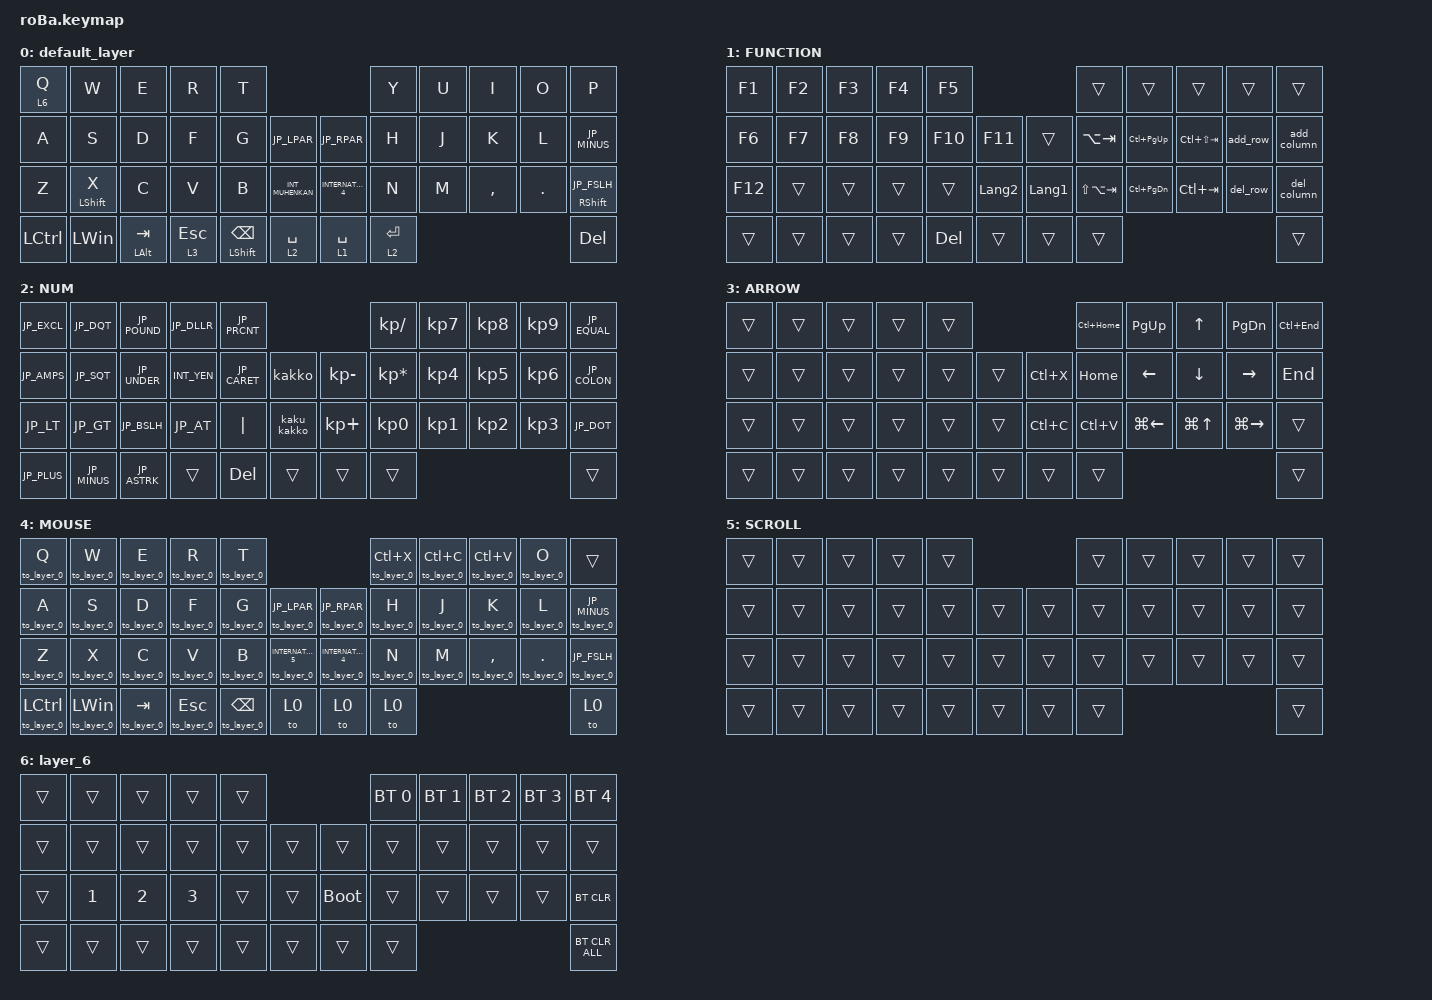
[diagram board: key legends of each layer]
#include <behaviors.dtsi>
#include <dt-bindings/zmk/bt.h>
#include <dt-bindings/zmk/keys.h>
#include "keys_jp.h"

&mt {
    flavor = "balanced";
    quick-tap-ms = <0>;
};

&trackball {
    scroll-layers = <5>;

    // arrows {
    //     layers = <3>;
    //     bindings =
    //         <&kp RIGHT_ARROW>,
    //         <&kp LEFT_ARROW>,
    //         <&kp UP_ARROW>,
    //         <&kp DOWN_ARROW>;
    //     tick = <10>;
    //     wait-ms = <5>;
    //     tap-ms = <5>;
    // };
};

/ {
    combos {
        compatible = "zmk,combos";

        double_quotation {
            bindings = <&kp JP_DQT>;
            key-positions = <32 33>;
            layers = <0>;
        };

        eq {
            bindings = <&kp JP_EQUAL>;
            key-positions = <20 21>;
            layers = <0>;
        };
    };

    macros {
        to_layer_0: to_layer_0 {
            compatible = "zmk,behavior-macro-one-param";
            #binding-cells = <1>;
            bindings = <&to 0 &macro_param_1to1 &kp MACRO_PLACEHOLDER>;
            label = "TO_LAYER_0";
        };

        kakko: kakko {
            compatible = "zmk,behavior-macro";
            #binding-cells = <0>;
            bindings = <&kp JP_LPAR &kp JP_RPAR &kp LEFT_ARROW>;
            label = "KAKKO";
        };

        kaku_kakko: kaku_kakko {
            compatible = "zmk,behavior-macro";
            #binding-cells = <0>;
            bindings = <&kp JP_LBKT &kp JP_RBKT &kp LEFT_ARROW>;
            label = "KAKU_KAKKO";
        };

        add_row: add_row {
            compatible = "zmk,behavior-macro";
            #binding-cells = <0>;
            bindings = <&kp LS(SPACE) &kp LC(C) &kp LC(LS(SEMICOLON))>;
            label = "ADD_ROW";
        };

        del_row: del_row {
            compatible = "zmk,behavior-macro";
            #binding-cells = <0>;
            bindings = <&kp LS(SPACE) &kp LC(MINUS)>;
            label = "DEL_ROW";
        };

        add_column: add_column {
            compatible = "zmk,behavior-macro";
            #binding-cells = <0>;
            bindings = <&kp LC(SPACE) &kp LC(C) &kp LC(LS(SEMICOLON))>;
            label = "ADD_COLUMN";
        };

        del_column: del_column {
            compatible = "zmk,behavior-macro";
            #binding-cells = <0>;
            bindings = <&kp LC(SPACE) &kp LC(MINUS)>;
            label = "DEL_COLUMN";
        };
    };

    behaviors {
        lt_to_layer_0: lt_to_layer_0 {
            compatible = "zmk,behavior-hold-tap";
            label = "LAYER_TAP_TO_0";
            bindings = <&mo>, <&to_layer_0>;

            #binding-cells = <2>;
            tapping-term-ms = <200>;
        };
    };

    keymap {
        compatible = "zmk,keymap";

        default_layer {
            bindings = <
&lt_to_layer_0 6 Q  &kp W         &kp E             &kp R                    &kp T                                                                         &kp Y                   &kp U  &kp I      &kp O       &kp P
&kp A               &kp S         &kp D             &kp F                    &kp G                     &kp JP_LPAR                 &kp JP_RPAR             &kp H                   &kp J  &kp K      &kp L       &kp JP_MINUS
&kp Z               &mt LSHFT X   &kp C             &kp V                    &kp B                     &kp INT_MUHENKAN            &kp INTERNATIONAL_4     &kp N                   &kp M  &kp COMMA  &kp PERIOD  &mt RSHFT JP_FSLH
&kp LCTRL           &kp LEFT_WIN  &mt LEFT_ALT TAB  &lt_to_layer_0 3 ESCAPE  &mt LEFT_SHIFT BACKSPACE  &lt_to_layer_0 2 SPACE      &lt_to_layer_0 1 SPACE  &lt_to_layer_0 2 ENTER                                &kp DEL
            >;
        };

        FUNCTION {
            bindings = <
&kp F1   &kp F2  &kp F3  &kp F4  &kp F5                                          &trans           &trans             &trans           &trans    &trans
&kp F6   &kp F7  &kp F8  &kp F9  &kp F10     &kp F11             &trans          &kp LA(TAB)      &kp LC(PAGE_UP)    &kp LC(LS(TAB))  &add_row  &add_column
&kp F12  &trans  &trans  &trans  &trans      &kp LANGUAGE_2      &kp LANGUAGE_1  &kp LS(LA(TAB))  &kp LC(PAGE_DOWN)  &kp LC(TAB)      &del_row  &del_column
&trans   &trans  &trans  &trans  &kp DELETE  &trans              &trans          &trans                                                         &trans
            >;
        };

        NUM {
            bindings = <
&kp JP_EXCL  &kp JP_DQT    &kp JP_POUND  &kp JP_DLLR  &kp JP_PRCNT                                 &kp KP_DIVIDE    &kp KP_NUMBER_7  &kp KP_NUMBER_8  &kp KP_NUMBER_9  &kp JP_EQUAL
&kp JP_AMPS  &kp JP_SQT    &kp JP_UNDER  &kp INT_YEN  &kp JP_CARET  &kakko           &kp KP_MINUS  &kp KP_ASTERISK  &kp KP_NUMBER_4  &kp KP_NUMBER_5  &kp KP_NUMBER_6  &kp JP_COLON
&kp JP_LT    &kp JP_GT     &kp JP_BSLH   &kp JP_AT    &kp PIPE      &kaku_kakko      &kp KP_PLUS   &kp KP_N0        &kp KP_NUMBER_1  &kp KP_NUMBER_2  &kp KP_NUMBER_3  &kp JP_DOT
&kp JP_PLUS  &kp JP_MINUS  &kp JP_ASTRK  &trans       &kp DEL       &trans           &trans        &trans                                                              &trans
            >;
        };

        ARROW {
            bindings = <
&trans  &trans  &trans  &trans  &trans                         &kp LC(HOME)  &kp PAGE_UP         &kp UP_ARROW      &kp PAGE_DOWN        &kp LC(END)
&trans  &trans  &trans  &trans  &trans  &trans      &kp LC(X)  &kp HOME      &kp LEFT_ARROW      &kp DOWN_ARROW    &kp RIGHT_ARROW      &kp END
&trans  &trans  &trans  &trans  &trans  &trans      &kp LC(C)  &kp LC(V)     &kp LG(LEFT_ARROW)  &kp LG(UP_ARROW)  &kp LG(RIGHT_ARROW)  &trans
&trans  &trans  &trans  &trans  &trans  &trans      &trans     &trans                                                                   &trans
            >;
        };

        MOUSE {
            bindings = <
&to_layer_0 Q      &to_layer_0 W         &to_layer_0 E    &to_layer_0 R       &to_layer_0 T                                                                        &to_layer_0 LC(X)  &to_layer_0 LC(C)  &to_layer_0 LC(V)  &to_layer_0 O       &trans
&to_layer_0 A      &to_layer_0 S         &to_layer_0 D    &to_layer_0 F       &to_layer_0 G          &to_layer_0 JP_LPAR              &to_layer_0 JP_RPAR          &to_layer_0 H      &to_layer_0 J      &to_layer_0 K      &to_layer_0 L       &to_layer_0 JP_MINUS
&to_layer_0 Z      &to_layer_0 X         &to_layer_0 C    &to_layer_0 V       &to_layer_0 B          &to_layer_0 INTERNATIONAL_5      &to_layer_0 INTERNATIONAL_4  &to_layer_0 N      &to_layer_0 M      &to_layer_0 COMMA  &to_layer_0 PERIOD  &to_layer_0 JP_FSLH
&to_layer_0 LCTRL  &to_layer_0 LEFT_WIN  &to_layer_0 TAB  &to_layer_0 ESCAPE  &to_layer_0 BACKSPACE  &to 0                            &to 0                        &to 0                                                                        &to 0
            >;
        };

        SCROLL {
            bindings = <
&trans  &trans  &trans  &trans  &trans                      &trans  &trans  &trans  &trans  &trans
&trans  &trans  &trans  &trans  &trans  &trans      &trans  &trans  &trans  &trans  &trans  &trans
&trans  &trans  &trans  &trans  &trans  &trans      &trans  &trans  &trans  &trans  &trans  &trans
&trans  &trans  &trans  &trans  &trans  &trans      &trans  &trans                          &trans
            >;
        };

        layer_6 {
            bindings = <
&trans  &trans        &trans        &trans        &trans                           &bt BT_SEL 0  &bt BT_SEL 1  &bt BT_SEL 2  &bt BT_SEL 3  &bt BT_SEL 4
&trans  &trans        &trans        &trans        &trans  &trans      &trans       &trans        &trans        &trans        &trans        &trans
&trans  &kp NUMBER_1  &kp NUMBER_2  &kp NUMBER_3  &trans  &trans      &bootloader  &trans        &trans        &trans        &trans        &bt BT_CLR
&trans  &trans        &trans        &trans        &trans  &trans      &trans       &trans                                                  &bt BT_CLR_ALL
            >;
        };
    };
};
